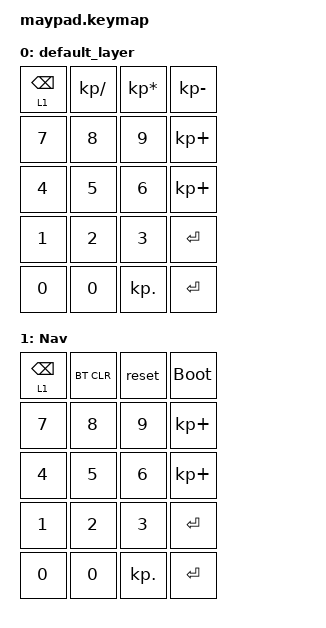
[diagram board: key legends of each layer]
#include <behaviors.dtsi>
#include <dt-bindings/zmk/keys.h>
#include <dt-bindings/zmk/bt.h>

#define DEF_L 0
#define NAV_L 1

/{
    keymap {
        compatible = "zmk,keymap";

        default_layer {
// --------------------------------------------------------------------------------------------------------------------------------------------------------------------
// |   ESC   |    Q    |    W    |    E    |    R    |    T    |                                          |    Y    |    U    |    I    |    O    |    P    |    \    |
// |   TAB   |    A    |    S    |    D    |    F    |    G    |                                          |    H    |    J    |    K    |    L    |    ;    |    '    |
// |  SHIFT  |    Z    |    X    |    C    |    V    |    B    | CTRL+A  | CTRL+C  |  |  CTRL+V |  CTRL+X |    N    |    M    |    ,    |    .    |    /    |  R CTRL |
//                               |   GUI   |   DEL   | RETURN  |  SPACE  | ESCAPE  |  |  RETURN |  SPACE  |   TAB   |   BSPC  |  R ALT  |
            bindings = <
                &lt 1 BSPC     &kp KP_DIVIDE   &kp KP_MULTIPLY       &kp KP_MINUS
                &kp NUMBER_7      &kp NUMBER_8  &kp NUMBER_9      &kp KP_PLUS
                &kp NUMBER_4      &kp NUMBER_5  &kp NUMBER_6      &kp KP_PLUS
                &kp NUMBER_1      &kp NUMBER_2  &kp NUMBER_3      &kp RETURN
                &kp NUMBER_0    &kp NUMBER_0  &kp KP_DOT    &kp RETURN
            >;

            //sensor-bindings = <&inc_dec_kp C_VOL_UP C_VOL_DN &inc_dec_kp PG_UP PG_DN>;
        };

        nav_layer {
            label = "Nav";
            bindings = <
                &lt 1 BSPC     &bt BT_CLR   &reset       &bootloader
                &kp NUMBER_7      &kp NUMBER_8  &kp NUMBER_9      &kp KP_PLUS
                &kp NUMBER_4      &kp NUMBER_5  &kp NUMBER_6      &kp KP_PLUS
                &kp NUMBER_1      &kp NUMBER_2  &kp NUMBER_3      &kp RETURN
                &kp NUMBER_0    &kp NUMBER_0  &kp KP_DOT    &kp RETURN
            >;
        };
    };
};
